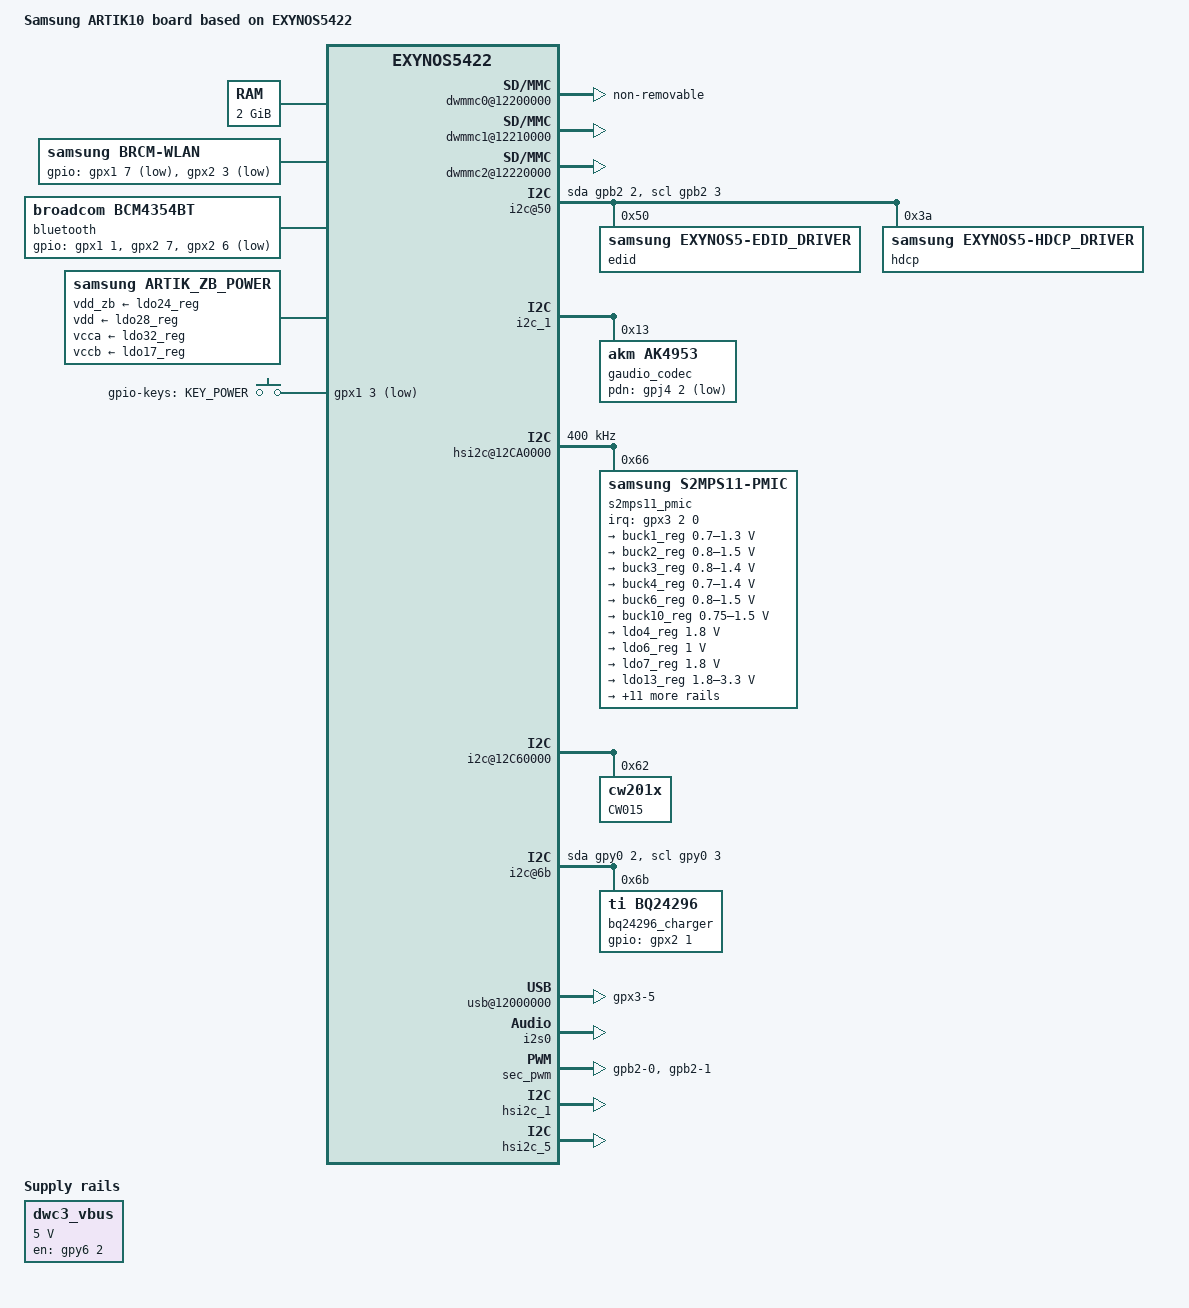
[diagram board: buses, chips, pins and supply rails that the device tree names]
/*
 * SAMSUNG ARTIK10 board device tree source
 *
 * Copyright (c) 2015 Samsung Electronics Co., Ltd.
 *             http://www.samsung.com
 *
 * This program is free software; you can redistribute it and/or modify
 * it under the terms of the GNU General Public License version 2 as
 * published by the Free Software Foundation.
*/

/dts-v1/;
#include "exynos5422_evt0.dtsi"

/ {
	model = "Samsung ARTIK10 board based on EXYNOS5422";
	compatible = "samsung,artik10", "samsung,exynos5422";

	memory {
		reg = <0x40000000 0x80000000>;
	};

	chosen {
		bootargs = "console=ttySAC3,115200 vmalloc=512M ess_setup=0x46000000";
	};

	fixed-rate-clocks {
		oscclk {
			compatible = "samsung,exynos5422-oscclk";
			clock-frequency = <24000000>;
		};
	};

	rtc {
		status = "okay";
	};

	dwmmc0@12200000 {
		status = "okay";
		num-slots = <1>;
		non-removable;
		broken-cd;
		bypass-smu;
		fixed_volt;
		clock-gate;
		enable-cclk-on-suspend;
		extra_tuning;
		supports-highspeed;
		supports-hs200-1-8v-mode;
		error-retry;
		enable-cache-control;
		supports-poweroff-notification;
		use-fine-tuning;
		sw_data_timeout;
		fifo-depth = <0x40>;
		card-detect-delay = <200>;
		qos_int_level = <222000>;
		samsung,dw-mshc-ciu-div = <3>;
		samsung,dw-mshc-sdr-timing = <3 0 4 0>;
		samsung,dw-mshc-ddr-timing = <3 0 2 0>;
		samsung,dw-mshc-hs200-timing = <3 0 2 0>;
		samsung,dw-mshc-ddr200-timing = <1 1 2 0>;
		clk_pin = "gpc0-0";
		clk_addr = "13410000.pinctrl";
		clk_val = <0x3>;
		clk_str_num = <4>;
		num-ref-clks = <8>;
		ciu_clkin = <20812500 41625000 41625000 83250000 166500000
			     83250000 166500000 333000000>;
		pinctrl-names = "default";
		pinctrl-0 = <&sd0_clk &sd0_cmd &sd0_rdqs &sd0_bus1 &sd0_bus4
			     &sd0_bus8>;

		slot@0 {
			reg = <0>;
			bus-width = <8>;
		};
	};

	dwmmc1@12210000 {
		status = "okay";
		num-slots = <1>;
		channel = <1>;
		caps-control;
		bypass-smu;
		clock-gate;
		use-fine-tuning;
		enable-cclk-on-suspend;
		fixed_volt;
		supports-highspeed;
		sw_data_timeout;
		keep-power-in-suspend;
		pm-ignore-notify;
		cd-type-external;
		cd-type = <2>;
		use-broken-voltage;
		fifo-depth = <0x40>;
		card-detect-delay = <200>;
		qos_int_level = <222000>;
		samsung,dw-mshc-ciu-div = <3>;
		samsung,dw-mshc-sdr-timing = <3 0 3 0>;
		samsung,dw-mshc-ddr-timing = <3 0 2 0>;
		clk_pin = "gpc1-0";
		clk_addr = "13410000.pinctrl";
		clk_val = <0x3>;
		clk_str_num = <4>;
		num-ref-clks = <8>;
		ciu_clkin = <25000000 50000000 50000000 100000000 200000000 100000000 200000000 400000000>;
		pinctrl-names = "default";
		pinctrl-0 = <&sd1_clk &sd1_cmd &sd1_bus1 &sd1_bus4>;

		slot@0 {
			reg = <0>;
			bus-width = <4>;
			disable-wp;
		};
	};

	dwmmc2@12220000 {
		status = "okay";
		num-slots = <1>;
		supports-highspeed;
		cd-type = <1>;
		sw_data_timeout;
		fifo-depth = <0x40>;
		card-detect-delay = <200>;
		qos_int_level = <222000>;
		samsung,dw-mshc-ciu-div = <3>;
		samsung,dw-mshc-sdr-timing = <3 0 4 0>;
		samsung,dw-mshc-ddr-timing = <3 0 2 0>;
		clk_pin = "gpc2-0";
		clk_addr = "13410000.pinctrl";
		clk_val = <0x3>;
		clk_str_num = <4>;
		num-ref-clks = <8>;
		ciu_clkin = <20812500 41625000 41625000 83250000 166500000
			     83250000 166500000 333000000>;
		pinctrl-names = "default";
		pinctrl-0 = <&sd2_clk &sd2_cmd &sd2_cd &sd2_bus1 &sd2_bus4>;

		slot@0 {
			reg = <0>;
			bus-width = <4>;
			disable-wp;
		};
	};

	pinctrl@13400000 {
		pmic_irq: pmic-irq {
			samsung,pins = "gpx3-2";
			samsung,pin-pud = <3>;
			samsung,pin-drv = <3>;
		};

		cfg_wlanen: cfg-wlanen {
			samsung,pins = "gpx1-7";
			samsung,pin-function = <1>;
			samsung,pin-pud = <0>;
			samsung,pin-drv = <3>;
			samsung,pin-con-pdn = <3>;
			samsung,pin-pud-pdn = <0>;
		};

		cfg_wlanhostwake: cfg-wlanhostwake {
			samsung,pins = "gpx2-3";
			samsung,pin-function = <0>;
			samsung,pin-pud = <1>;
			samsung,pin-con-pdn = <2>;
			samsung,pin-pud-pdn = <0>;
		};

		cfg_en: cfg-en {
			samsung,pins ="gpx1-1";
			samsung,pin-function = <1>;
			samsung,pin-pud = <1>;
			samsung,pin-con-pdn = <3>;
			samsung,pin-pud-pdn = <1>;
		};

		cfg_hostwake: cfg-hostwake {
			samsung,pins = "gpx2-6";
			samsung,pin-function = <0>;
			samsung,pin-pud = <2>;
			samsung,pin-con-pdn = <2>;
			samsung,pin-pud-pdn = <0>;
		};

		cfg_btwake: cfg-btwake {
			samsung,pins = "gpx2-7";
			samsung,pin-function = <1>;
			samsung,pin-pud = <1>;
			samsung,pin-con-pdn = <0>;
			samsung,pin-pud-pdn = <1>;
		};

		chg_irq: chg-irq {
			samsung,pins = "gpx2-1";
			samsung,pin-function = <0xf>;
			samsung,pin-pud = <3>;
			samsung,pin-drv = <3>;
		};

		key_pullup: key-pullup {
			samsung,pins = "gpx1-3";
			samsung,pin-pud = <3>;
			samsung,pin-pud-pdn = <3>;
		};
	};

	pinctrl@13410000 {
		zb_rstn: zb-rstn {
			samsung,pins = "gpd1-1";
			samsung,pin-function = <1>;
			samsung,pin-pud = <0>;
			samsung,pin-val = <1>;
			samsung,pin-con-pdn = <2>;
			samsung,pin-pud-pdn = <1>;
		};
	};

	pinctrl@14010000 {
		pwm0_out: pwm0-out {
			samsung,pins = "gpb2-0";
			samsung,pin-function = <2>;
			samsung,pin-pud = <3>;
			samsung,pin-drv = <0>;
		};

		pwm1_out: pwm1-out {
			samsung,pins = "gpb2-1";
			samsung,pin-function = <2>;
			samsung,pin-pud = <3>;
			samsung,pin-drv = <0>;
		};

		zb_bootloader: zb-bootloader {
			samsung,pins = "gph0-7";
			samsung,pin-function = <1>;
			samsung,pin-pud = <0>;
			samsung,pin-val = <1>;
			samsung,pin-con-pdn = <2>;
			samsung,pin-pud-pdn = <1>;
		};
	};

	wlan {
		compatible = "samsung,brcm-wlan";
		gpios = <&gpx1 7 0x1	/* WLAN_EN */
			 &gpx2 3 0xF	/* WLAN_HOST_WAKE */
			>;
		pinctrl-names = "default";
		pinctrl-0=<&cfg_wlanen &cfg_wlanhostwake>;
		status = "okay";
	};

	serial@12C20000 {
		force-auto-flow-control;
	};

	bluetooth {
		compatible = "broadcom,bcm4354bt";

		gpios = <&gpx1 1 0	/* BT_EN */
			 &gpx2 7 0	/* BT_WAKE */
			 &gpx2 6 0xF	/* BT_HOST_WAKE */
			 >;

		pinctrl-names = "default";
		pinctrl-0=<&cfg_hostwake &cfg_btwake &cfg_en>;
		status = "okay";
	};

	hdmi@14530000 {
		gpios = <&gpx3 7 0xf>, <&gpy4 2 0x1>, <&gpy4 3 0x1>,
			<&gpd1 7 0x1>;	/* HDMI_5V */
	};

	i2c@50 {
		compatible = "i2c-gpio";
		gpios = <&gpb2 2 0>,	/* sda */
			<&gpb2 3 0>;	/* scl */
		i2c-gpio,delay-us = <2>;

		#address-cells = <1>;
		#size-cells = <0>;
		status = "okay";
		/* hdmi edid dirver */
		edid@50 {
			compatible = "samsung,exynos5-edid_driver";
			reg = <0x50>;
		};

		/* hdmi hdcp dirver */
		hdcp@3A {
			compatible = "samsung,exynos5-hdcp_driver";
			reg = <0x3A>;
		};
	};

	i2c_1: i2c@12C70000 {
		#address-cells = <1>;
		#size-cells = <0>;
		samsung,i2c-max-bus-freq = <400000>;
		status = "okay";

		gaudio_codec: ak4953@13 {
			compatible = "akm,ak4953";
			reg = <0x13>;
			ak4953,pdn-gpio = <&gpj4 2 0x1>;
		};
	};

	hsi2c@12CA0000 {
		samsung,hs-mode;
		clock-frequency = <400000>;
		status = "okay";

		s2mps11_pmic@66 {
			compatible = "samsung,s2mps11-pmic";
			reg = <0x66>;
			interrupts = <2 0 0>;
			interrupt-parent = <&gpx3>;
			pinctrl-names = "default";
			pinctrl-0 = <&pmic_irq>;
			/* RTC: wtsr/smpl */
			wtsr_en = <1>; /* enable */
			smpl_en = <1>; /* enable */
			wtsr_timer_val = <3>;   /* 1000ms */
			smpl_timer_val = <0>;   /* 500ms */
			check_jigon = <0>; /* do not check jigon */
			/* RTC: If it's first boot, reset rtc to 1/1/2014 12:00:00(Wed) */
			init_time,sec = <0>;
			init_time,min = <0>;
			init_time,hour = <12>;
			init_time,mday = <1>;
			init_time,mon = <0>;
			init_time,year = <114>;
			init_time,wday = <3>;

			regulators {
				buck1_reg: BUCK1 {
					regulator-name = "vdd_mif";
					regulator-min-microvolt = <700000>;
					regulator-max-microvolt = <1300000>;
					regulator-always-on;
					regulator-boot-on;
					regulator-ramp-delay = <12000>;
					regulator-initial-mode = <1>;
				};

				buck2_reg: BUCK2 {
					regulator-name = "vdd_eagle";
					regulator-min-microvolt = <800000>;
					regulator-max-microvolt = <1500000>;
					regulator-always-on;
					regulator-boot-on;
					regulator-ramp-delay = <12000>;
					regulator-initial-mode = <1>;
				};

				buck3_reg: BUCK3 {
					regulator-name = "vdd_int";
					regulator-min-microvolt = <800000>;
					regulator-max-microvolt = <1400000>;
					regulator-always-on;
					regulator-boot-on;
					regulator-ramp-delay = <12000>;
					regulator-initial-mode = <1>;
				};

				buck4_reg: BUCK4 {
					regulator-name = "vdd_g3d";
					regulator-min-microvolt = <700000>;
					regulator-max-microvolt = <1400000>;
					regulator-always-on;
					regulator-boot-on;
					regulator-ramp-delay = <12000>;
					regulator-initial-mode = <1>;
				};

				buck6_reg: BUCK6 {
					regulator-name = "vdd_kfc";
					regulator-min-microvolt = <800000>;
					regulator-max-microvolt = <1500000>;
					regulator-always-on;
					regulator-boot-on;
					regulator-ramp-delay = <12000>;
					regulator-initial-mode = <1>;
				};

				buck10_reg: BUCK10 {
					regulator-name = "vdd_cam_isp_1.0v";
					regulator-min-microvolt = <750000>;
					regulator-max-microvolt = <1500000>;
					regulator-always-on;
					regulator-boot-on;
					regulator-ramp-delay = <12000>;
					regulator-initial-mode = <1>;
				};

				ldo4_reg: LDO4 {
					regulator-name = "vdd_adc";
					regulator-min-microvolt = <1800000>;
					regulator-max-microvolt = <1800000>;
					regulator-always-on;
					regulator-boot-on;
					regulator-ramp-delay = <12000>;
					regulator-initial-mode = <1>;
				};

				ldo6_reg: LDO6 {
					regulator-name = "vdd_ldo6";
					regulator-min-microvolt = <1000000>;
					regulator-max-microvolt = <1000000>;
					regulator-always-on;
					regulator-initial-mode = <1>;
				};

				ldo7_reg: LDO7 {
					regulator-name = "vdd_ldo7";
					regulator-min-microvolt = <1800000>;
					regulator-max-microvolt = <1800000>;
					regulator-always-on;
					regulator-initial-mode = <1>;
				};

				ldo13_reg: LDO13 {
					regulator-name = "vqmmc";
					regulator-min-microvolt = <1800000>;
					regulator-max-microvolt = <3300000>;
					regulator-boot-on;
					regulator-ramp-delay = <12000>;
					regulator-initial-mode = <1>;
				};

				ldo17_reg: LDO17 {
					regulator-name = "vdd_ldo17";
					regulator-min-microvolt = <2800000>;
					regulator-max-microvolt = <2800000>;
					regulator-initial-mode = <1>;
				};

				ldo18_reg: LDO18 {
					regulator-name = "vdd_ldo18";
					regulator-min-microvolt = <1800000>;
					regulator-max-microvolt = <1800000>;
					regulator-always-on;
					regulator-initial-mode = <3>;
				};

				ldo19_reg: LDO19 {
					regulator-name = "vmmc";
					regulator-min-microvolt = <1800000>;
					regulator-max-microvolt = <1800000>;
					regulator-always-on;
					regulator-initial-mode = <1>;
				};

				ldo20_reg: LDO20 {
					regulator-name = "vdd_ldo20";
					regulator-min-microvolt = <1800000>;
					regulator-max-microvolt = <1800000>;
					regulator-always-on;
					regulator-initial-mode = <3>;
				};

				ldo23_reg: LDO23 {
					regulator-name = "vdd_mifs";
					regulator-min-microvolt = <800000>;
					regulator-max-microvolt = <1100000>;
					regulator-always-on;
					regulator-initial-mode = <1>;
					regulator-ramp-delay = <12000>;
				};

				ldo24_reg: LDO24 {
					regulator-name = "vdd_ldo24";
					regulator-min-microvolt = <2400000>;
					regulator-max-microvolt = <2400000>;
					regulator-initial-mode = <1>;
				};

				ldo25_reg: LDO25 {
					regulator-name = "vdd_ldo25";
					regulator-min-microvolt = <1800000>;
					regulator-max-microvolt = <1800000>;
					regulator-always-on;
				};

				ldo27_reg: LDO27 {
					regulator-name = "vdd_g3ds";
					regulator-min-microvolt = <800000>;
					regulator-max-microvolt = <1100000>;
					regulator-always-on;
					regulator-initial-mode = <1>;
					regulator-ramp-delay = <12000>;
				};

				ldo28_reg: LDO28 {
					regulator-name = "vdd_ldo28";
					regulator-min-microvolt = <2800000>;
					regulator-max-microvolt = <2800000>;
					regulator-initial-mode = <1>;
				};

				ldo32_reg: LDO32 {
					regulator-name = "vdd_lcd_1v8";
					regulator-min-microvolt = <1800000>;
					regulator-max-microvolt = <1800000>;
					regulator-initial-mode = <1>;
				};

				ldo38_reg: LDO38 {
					regulator-name = "vdd_ldo38";
					regulator-min-microvolt = <2800000>;
					regulator-max-microvolt = <2800000>;
					regulator-always-on;
					regulator-initial-mode = <1>;
				};

			};
		};
	};

	pinctrl@13400000 {
		b_sess0_irq: b-sess0-irq {
			samsung,pins = "gpx0-7";
			samsung,pin-function = <0xf>;
			samsung,pin-pud = <0>;
		};

		id0_irq: id0-irq {
			samsung,pins = "gpx3-5";
			samsung,pin-function = <0xf>;
			samsung,pin-pud = <3>;
			samsung,pin-con-pdn = <2>;
			samsung,pin-pud-pdn = <0>;
		};
	};

	i2c@12C60000 {
		#address-cells = <1>;
		#size-cells = <0>;
		samsung,i2c-max-bus-freq = <100000>;
		status = "okay";

		CW015@62 {
			compatible = "cw201x";
			reg = <0x62>;

			bat_config_info = <0x17 0x67 0x6C 0x70 0x70 0x6F 0x6A 0x65 0x62 0x5B
					   0x55 0x4F 0x4A 0x46 0x43 0x3D 0x35 0x2B 0x26 0x22
					   0x21 0x2B 0x42 0x4D 0x49 0x49 0x0B 0x85 0x09 0x12
					   0x1D 0x3A 0x47 0x44 0x43 0x4B 0x39 0x17 0x37 0x48
					   0x04 0x16 0x52 0x87 0x8F 0x91 0x94 0x52 0x82 0x8C
					   0x92 0x96 0x81 0x6B 0xC0 0xCB 0x2F 0x7D 0x72 0xA5
					   0xB5 0xC1 0x6A 0x09>;

			is_dc_charge = <1>;
			is_usb_charge = <0>;
		};
	};

	i2c@6b {
		compatible = "i2c-gpio";
		gpios = <&gpy0 2 0 /* sda */
			&gpy0 3 0 /* scl */
			>;
		i2c-gpio,delay-us = <2>;        /* ~100kHz */
		#address-cells = <1>;
		#size-cells = <0>;
		status = "okay";

		bq24296_charger@6b {
			compatible = "ti,bq24296";
			reg = <0x6b>;
			ti,chg_current = <1000 1500 2000>;
			gpios = <&gpx2 1 0>;
			pinctrl-names = "default";
			pinctrl-0 = <&chg_irq>;
		};
	};

	pinctrl@14000000 {
		fimc_is_flash: fimc-is-flash {
			samsung,pins = "gpe0-3", "gpe0-2";
			samsung,pin-function = <2>;
			samsung,pin-pud = <0>;
			samsung,pin-drv = <0>;
		};

		codec_ctl_1: codec-ctl {
			samsung,pins = "gpj4-2";
			samsung,pin-con-pdn = <3>;
		};
	};

	dwc3_vbus: fixedregulator@0 {
		compatible = "regulator-fixed";
		regulator-name = "VUSB_BOOST_5V";
		regulator-min-microvolt = <5000000>;
		regulator-max-microvolt = <5000000>;
		gpio = <&gpy6 2 1>;
		enable-active-high;
	};

	usb@12000000 {
		dwc3-vbus-supply = <&dwc3_vbus>;
		samsung,bsess-gpio = <&gpx0 7 0xf>;
		pinctrl-names = "default";
		pinctrl-0 = <&b_sess0_irq>;
		samsung,id-gpio = <&gpx3 5 0xf>;
		pinctrl-names = "default";
		pinctrl-0 = <&id0_irq>;
		status = "okay";

		dwc3 {
			maximum-speed = "super-speed";
			dr_mode = "otg";
		};
	};

	spi_0: spi@12d20000 {
		status = "disabled";
	};

	spi_1: spi@12d30000 {
		status = "disabled";
	};

	spi_2: spi@12d40000 {
		status = "disabled";
	};

	fimd_fb: fimd_fb {
		gpios = <&gpx0 2 0xf>;

		fimd: fimd_ctrl {
			samsung,left_margin = <10>;
			samsung,right_margin = <10>;
			samsung,upper_margin = <4>;
			samsung,lower_margin = <3>;
			samsung,hsync_len = <10>;
			samsung,vsync_len = <1>;
			samsung,xres = <1080>;
			samsung,yres = <1920>;
			samsung,virtual_x = <1080>;
			samsung,virtual_y = <1920>;

			samsung,width = <71>;
			samsung,height = <114>;
			samsung,max_bpp = <32>;
			samsung,default_bpp = <24>;

			fb_driver_data {
				fb_win_variant_0 {
					has_osd_c = <1>;
					has_osd_d = <0>;
					has_osd_alpha = <0>;
					osd_size_off = <0x08>;
					palette_size = <256>;
					VALID_BPP_1248 = <1>;
					VALID_BPP_13 = <1>;
					VALID_BPP_15 = <1>;
					VALID_BPP_16 = <1>;
					VALID_BPP_18 = <1>;
					VALID_BPP_19 = <1>;
					VALID_BPP_24 = <1>;
					VALID_BPP_25 = <1>;
					VALID_BPP_32 = <1>;
				};

				fb_win_variant_1 {
					has_osd_c = <1>;
					has_osd_d = <1>;
					has_osd_alpha = <1>;
					osd_size_off = <0x0c>;
					palette_size = <256>;
					VALID_BPP_1248 = <1>;
					VALID_BPP_13 = <1>;
					VALID_BPP_15 = <1>;
					VALID_BPP_16 = <1>;
					VALID_BPP_18 = <1>;
					VALID_BPP_19 = <1>;
					VALID_BPP_24 = <1>;
					VALID_BPP_25 = <1>;
					VALID_BPP_32 = <1>;
				};

				fb_win_variant_2 {
					has_osd_c = <1>;
					has_osd_d = <1>;
					has_osd_alpha = <1>;
					osd_size_off = <0x0c>;
					palette_size = <256>;
					VALID_BPP_1248 = <1>;
					VALID_BPP_13 = <1>;
					VALID_BPP_15 = <1>;
					VALID_BPP_16 = <1>;
					VALID_BPP_18 = <1>;
					VALID_BPP_19 = <1>;
					VALID_BPP_24 = <1>;
					VALID_BPP_25 = <1>;
					VALID_BPP_32 = <1>;
				};

				fb_win_variant_3 {
					has_osd_c = <1>;
					has_osd_d = <0>;
					has_osd_alpha = <1>;
					osd_size_off = <0x0>;
					palette_size = <256>;
					VALID_BPP_1248 = <1>;
					VALID_BPP_13 = <1>;
					VALID_BPP_15 = <1>;
					VALID_BPP_16 = <1>;
					VALID_BPP_18 = <1>;
					VALID_BPP_19 = <1>;
					VALID_BPP_24 = <1>;
					VALID_BPP_25 = <1>;
					VALID_BPP_32 = <1>;
				};

				fb_win_variant_4 {
					has_osd_c = <1>;
					has_osd_d = <0>;
					has_osd_alpha = <1>;
					osd_size_off = <0x0>;
					palette_size = <256>;
					VALID_BPP_1248 = <1>;
					VALID_BPP_13 = <1>;
					VALID_BPP_15 = <1>;
					VALID_BPP_16 = <1>;
					VALID_BPP_18 = <1>;
					VALID_BPP_19 = <1>;
					VALID_BPP_24 = <1>;
					VALID_BPP_25 = <1>;
					VALID_BPP_32 = <1>;
				};
			};
		};

		mipi_dsi: mipi_dsi {
			gpios = <&gpy5 2 0x1>, <&gpy1 0 0x1>;
			interrupt-parent = <&gic>;
			interrupts = <0 82 0>;
			/* Interface definition: 0 - DSIM_COMMAND,
						 1 - DSIM_VIDEO */
			e_interface = <1>;

			/* Pixel format : 0 - DSIM_CMD_3BPP,
					  1 - DSIM_CMD_8BPP,
					  2 - DSIM_CMD_12BPP,
					  3 - DSIM_CMD_16BPP,
					  4 - DSIM_VID_16BPP_565,
					  5 - DSIM_VID_18BPP_666PACKED,
					  6 - DSIM_18BPP_666LOOSELYPACKED,
					  7 - DSIM_24BPP_888 */
			e_pixel_format = <7>;

			/* main frame fifo auto flush at VSYNC pulse */
			auto_flush = <0>;
			eot_disable = <1>;
			auto_vertical_cnt = <0>;
			hse = <0>;
			hfp = <0>;
			hbp = <0>;
			hsa = <0>;

			/* num of data lane : 0 - DSIM_DATA_LANE_1,
					      1 - DSIM_DATA_LANE_2,
					      2 - DSIM_DATA_LANE_3,
					      3 - DSIM_DATA_LANE_4 */
			e_no_data_lane = <3>;

			/* byte clock divider : 0 - DSIM_PLL_OUT_DIV8,
						1 - DSIM_EXT_CLK_DIV8,
						2 - DSIM_EXT_CLK_BYPASS */
			e_byte_clk = <0>;

			/* Burst mode : 0 - DSIM_NON_BURST_SYNC_EVENT,
					2 - DSIM_NON_BURST_SYNC_PULSE,
					1 - DSIM_BURST
					4 - DSIM_NON_VIDEO_MODE */
			e_burst_mode = <1>;

			/* PMS
			- 1. LCD_S6E8AA0 : p - 4, m - 80, s - 2
			- 2. LCD_S6E3FA0(COMMAND): p - 2, m - 46, s - 1
			- 3. LCD_S6E3FA0(VIDEO): p - 4, m - 75, s - 1
			- 4. LCD_S6E3HA0(COMMAND): p - 2, m - 46, s - 1*/
			p = <2>;
			m = <46>;
			s = <1>;

			/* D-PHY PLL stable time spec :
			   min = 200usec ~ max 400usec */
			pll_stable_time = <500>;

			/* escape clk : 7MHz */
			esc_clk = <7000000>;

			/* stop state holding counter
			after bta change count 0 ~ 0xfff */
			stop_holding_cnt = <0x0fff>;

			/* bta timeout 0 ~ 0xff */
			bta_timeout = <0xff>;

			/* lp rx timeout 0 ~ 0xffff */
			rx_timeout = <0xffff>;
		};
	};

	ion {
		compatible = "samsung,exynos5430-ion";

		contig-names = "common",
			       "mfc_sh",
			       "g2d_wfd",
			       "video",
			       "sectbl",
			       "mfc_fw",
			       "mfc_nfw",
			       "secdma";

		contig = <0 0x6650000 0x0>,
		         <2 0x100000 0x0>,
		         <10 0x800000 0x0>,
		         <11 0x6C00000 0x0>,
		         <9 0x100000 0x0>,
		         <8 0x100000 0x0>,
		         <12 0x100000 0x0>,
		         <13 0x20000 0x0>;

		contig-isolate_on_boot = <2>, <8>,
					  <9>, <10>, <11>, <12>, <13>;

		ion_noncontig_heap {
			id-type = <0 0>;
		};

		exynos_contig_heap {
			id-type = <4 6>;
		};
	};

	i2s0: i2s@03830000 {
		status = "okay";
	};

	sound {
		compatible = "samsung,artik-ak4953";
		clocks = <&clock 5316>;         /* fout_epll */
		clock-names = "fout_epll";
		samsung,i2s-controller = <&i2s0>;
		samsung,audio-codec = <&gaudio_codec>;
		samsung,audio-cpu = <&i2s0      /* primary */
				     &i2s0>;    /* secondary */
		status = "okay";
	};

	artik_zb_power {
		compatible = "samsung,artik_zb_power";
		pinctrl-names = "default";
		pinctrl-0 = <&zb_rstn &zb_bootloader>;
		vdd_zb-supply = <&ldo24_reg>;
		vdd-supply = <&ldo28_reg>;
		vcca-supply = <&ldo32_reg>;
		vccb-supply = <&ldo17_reg>;
	};

	gpio_keys {
		compatible = "gpio-keys";
		#address-cells = <1>;
		#size-cells = <0>;
		poll-interval = <100>;
		pinctrl-names = "default";
		pinctrl-0 = <&key_pullup>;

		button@1 {
			label = "gpio-keys: KEY_POWER";
			interrupts = <3 0 0>;
			interrupt-parent = <&gpx1>;
			linux,code = <116>;
			gpios = <&gpx1 3 0xf>;
			gpio-key,wakeup = <1>;
		};
	};
};

&sec_pwm {
	status = "okay";
	pinctrl-names = "default";
	pinctrl-0 = <&pwm0_out>, <&pwm1_out>;
};

&hsi2c_1 {
	status = "okay";
};

&hsi2c_5 {
	status = "okay";
};
